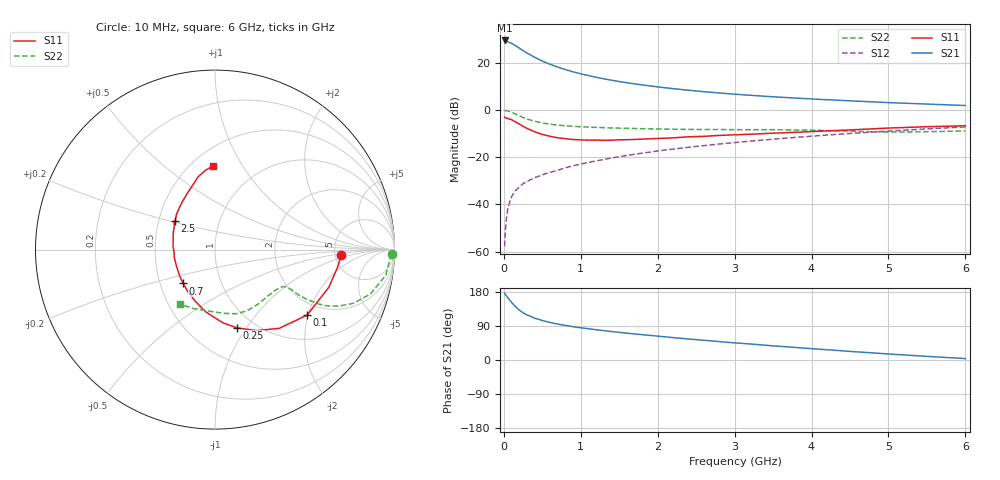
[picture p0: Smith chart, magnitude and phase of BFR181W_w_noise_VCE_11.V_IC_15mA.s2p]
! Infineon Technologies  Discrete & RF Semiconductors
! BFR181W
! VCE =  11. V,  IC =  15 mA
! Common Emitter S-Parameters:  Jan 2017
# GHz  S  MA  R  50
!  f  S11  S21  S12  S22
! GHz  MAG  ANG  MAG  ANG  MAG  ANG  MAG  ANG
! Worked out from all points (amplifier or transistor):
!   77 points, 10 MHz to 6 GHz, reference 50 ohm
!   highest |S21| = 29.5 dB at 10 MHz (marker M1)
!   |S21| within 3 dB of that: start of sweep to 189 MHz
!   unconditionally stable (mu >= 1): 924.9 MHz to 2.893 GHz
!   at 130 MHz: K = 0.34, MSG = 31.4 dB, |S12| = -35.1 dB
!   at 2.2 GHz: K = 1.04, MAG = 11.5 dB, |S12| = -16.5 dB
!   at 6 GHz: K = 0.85, MSG = 4.5 dB, |S12| = -7.1 dB
!   lowest NFmin = 1.47 dB at 450 MHz
!   S11 on the Smith chart (normalised r, x): 10 MHz: 5.71, -0.67; 100 MHz: 1.63, -1.97; 250 MHz: 0.83, -0.91; 700 MHz: 0.66, -0.27; 2.5 GHz: 0.61, +0.21; 6 GHz: 0.63, +0.75
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0.01  0.7053 -2.4  30.01 176.0  0.0013 80.1  0.9854 -1.5
0.02  0.689 -8.5  29.24 172.9  0.0027 92.4  0.9762 -3.1
0.05  0.6681 -18.2  28.39 165.1  0.0077 77.0  0.9627 -8.5
0.1  0.6299 -35.4  26.1 151.9  0.0145 75.2  0.9015 -15.9
0.15  0.5661 -50.8  23.42 141.0  0.0196 68.7  0.8272 -21.2
0.2  0.5069 -62.9  20.66 131.8  0.0232 67.8  0.7569 -24.6
0.25  0.4534 -74.2  18.33 124.6  0.0277 64.3  0.6978 -26.7
0.3  0.4103 -83.9  16.26 119.0  0.0305 63.6  0.6473 -27.8
0.4  0.3487 -99.1  13.2 110.3  0.0368 63.5  0.578 -28.5
0.5  0.3049 -112.0  10.97 104.1  0.0423 64.5  0.5326 -28.5
0.6  0.2779 -123.2  9.388 99.0  0.0479 65.4  0.5021 -28.0
0.7  0.259 -133.2  8.165 94.8  0.053 66.7  0.4801 -27.7
0.9  0.2381 -149.7  6.484 88.0  0.0658 68.0  0.4532 -27.7
1.1  0.2307 -163.5  5.393 82.5  0.0777 68.9  0.4365 -28.2
1.3  0.2283 -175.0  4.605 77.4  0.0896 69.4  0.4241 -29.5
1.5  0.2347 176.1  4.035 73.0  0.1025 69.4  0.4141 -31.2
2.1  0.254 155.0  2.976 61.1  0.1424 68.1  0.3953 -39.2
2.5  0.2741 144.7  2.55 53.8  0.1697 66.6  0.3883 -45.9
3.1  0.3035 131.5  2.12 43.8  0.212 63.4  0.3845 -56.3
4.1  0.3557 114.5  1.692 28.5  0.2875 56.7  0.3716 -73.8
5.1  0.4217 101.7  1.422 14.6  0.3664 48.5  0.3435 -98.4
6  0.465 91.6  1.251 3.7  0.4399 40.2  0.3632 -122.9
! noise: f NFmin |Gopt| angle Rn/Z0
0.45  1.47  0.04  14  0.21
0.9  1.52  0.04  31  0.21
1.9  1.95  0.13  -139  0.22
2.4  2.2  0.16  -109  0.28
